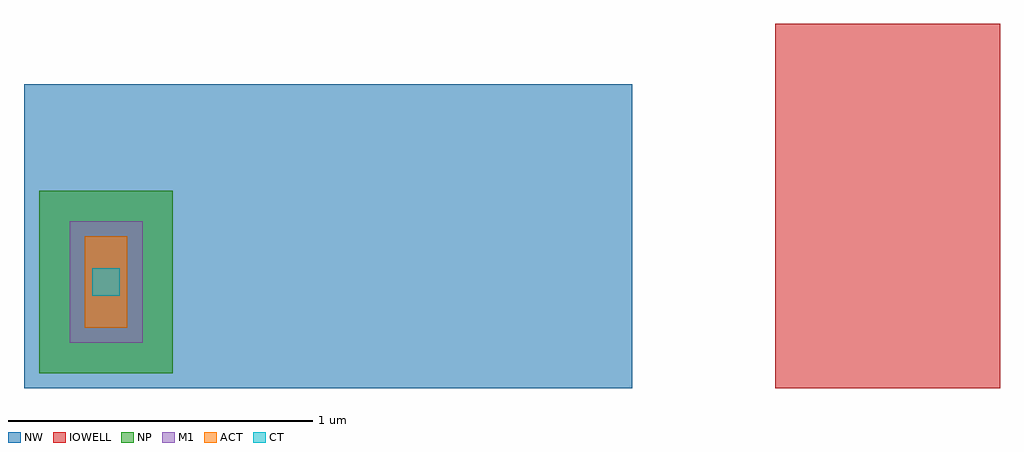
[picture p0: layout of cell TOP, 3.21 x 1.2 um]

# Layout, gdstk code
import gdstk
lib = gdstk.Library(unit=1e-6, precision=1e-09)
def R(c, l, rs):  # rectangles x0, y0, x1, y1
    for r in rs: c.add(gdstk.rectangle(r[:2], r[2:], *l))
ACT = (2, 1)
NW = (9, 1)
IOWELL = (28, 1)
NP = (52, 1)
CT = (72, 1)
M1 = (81, 1)

top = lib.new_cell('TOP')
R(top, ACT, [(0.2,0.2,0.34,0.5)])
R(top, NW, [(0,0,2,1)])
R(top, IOWELL, [(2.47,0,3.21,1.2)])
R(top, NP, [(0.05,0.05,0.49,0.65)])
R(top, CT, [(0.225,0.305,0.315,0.395)])
R(top, M1, [(0.15,0.15,0.39,0.55)])

lib.write_gds('TOP.gds')
